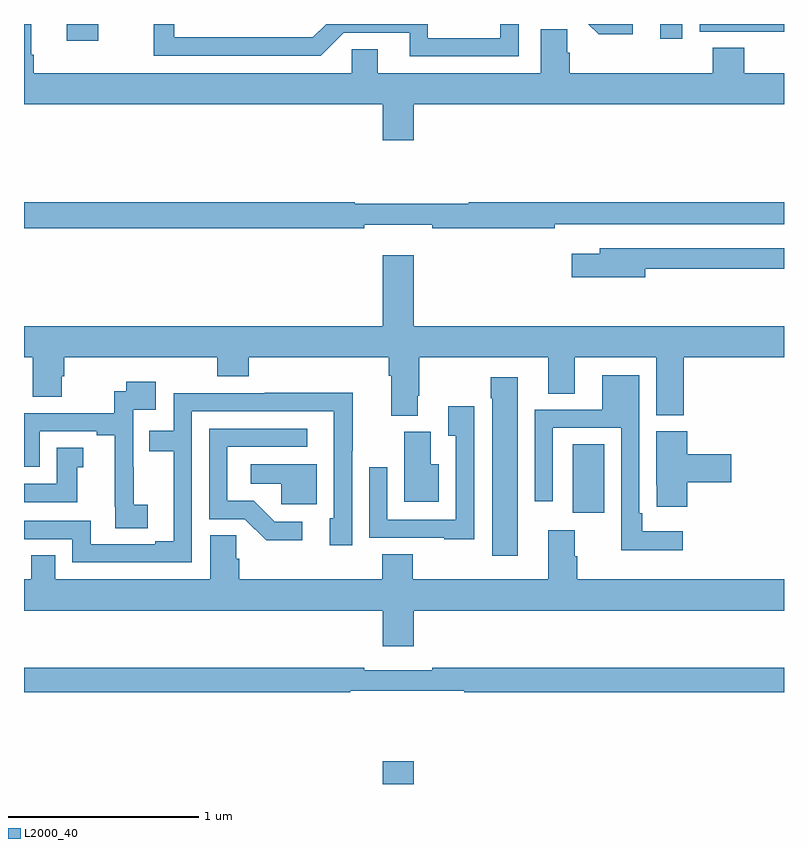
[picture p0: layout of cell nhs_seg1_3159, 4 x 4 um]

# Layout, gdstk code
import gdstk
lib = gdstk.Library(unit=1e-6, precision=1e-09)
def R(c, l, rs):  # rectangles x0, y0, x1, y1
    for r in rs: c.add(gdstk.rectangle(r[:2], r[2:], *l))
def P(c, l, *ps):  # polygons
    for p in ps: c.add(gdstk.Polygon(p, *l))
L2000_40 = (2000, 40)

nhs_seg1_3159 = lib.new_cell('nhs_seg1_3159')
R(nhs_seg1_3159, L2000_40, [(284.888,504.199,285.052,504.319), (285.887,505.626,286.054,505.988), (283.226,508.11,283.392,508.199), (286.349,508.122,286.464,508.199)])
P(nhs_seg1_3159, L2000_40, [(286.204,508.199),(285.971,508.199),(286.025,508.145),(286.204,508.145)],
  [(285.603,508.199),(285.507,508.199),(285.507,508.125),(285.126,508.125),(285.126,508.199),(284.591,508.199),(284.52,508.128),(283.791,508.128),(283.791,508.199),(283.683,508.199),(283.683,508.032),(284.562,508.032),(284.682,508.152),(285.029,508.152),(285.029,508.029),(285.603,508.029)],
  [(287,508.199),(286.557,508.199),(286.557,508.158),(286.873,508.158),(286.873,508.157),(287,508.157)],
  [(285.052,507.776),(287,507.776),(287,507.94),(286.79,507.94),(286.79,508.073),(286.625,508.073),(286.625,507.94),(285.872,507.94),(285.872,508.049),(285.858,508.049),(285.858,508.172),(285.719,508.172),(285.719,507.94),(284.863,507.94),(284.863,508.067),(284.724,508.067),(284.724,507.94),(283.052,507.94),(283.052,508.036),(283.039,508.036),(283.039,508.199),(283,508.199),(283,507.776),(284.888,507.776),(284.888,507.588),(285.052,507.588)],
  [(284.792,507.143),(285.148,507.143),(285.148,507.124),(285.794,507.124),(285.794,507.144),(287,507.144),(287,507.26),(285.341,507.26),(285.341,507.253),(284.741,507.253),(284.741,507.26),(283,507.26),(283,507.124),(284.792,507.124)],
  [(286.27,506.91),(287,506.91),(287,507.018),(286.031,507.018),(286.031,506.989),(285.882,506.989),(285.882,506.867),(286.27,506.867)],
  [(283,506.444),(283.046,506.444),(283.046,506.236),(283.198,506.236),(283.198,506.346),(283.211,506.346),(283.211,506.444),(284.018,506.444),(284.018,506.345),(284.183,506.345),(284.183,506.444),(284.921,506.444),(284.921,506.348),(284.933,506.348),(284.933,506.137),(285.073,506.137),(285.073,506.242),(285.081,506.242),(285.081,506.444),(285.758,506.444),(285.758,506.254),(285.898,506.254),(285.898,506.444),(286.328,506.444),(286.328,506.14),(286.472,506.14),(286.472,506.444),(287,506.444),(287,506.608),(285.052,506.608),(285.052,506.983),(284.888,506.983),(284.888,506.608),(283,506.608)],
  [(286.468,505.528),(286.255,505.528),(286.255,505.624),(286.239,505.624),(286.239,506.35),(286.043,506.35),(286.043,506.169),(285.687,506.169),(285.687,505.686),(285.783,505.686),(285.783,506.073),(286.143,506.073),(286.143,505.43),(286.468,505.43)],
  [(285.598,506.341),(285.457,506.341),(285.457,506.228),(285.464,506.228),(285.464,505.401),(285.598,505.401)],
  [(283.651,505.668),(283.577,505.668),(283.577,505.865),(283.575,505.865),(283.575,506.169),(283.693,506.169),(283.693,506.317),(283.537,506.317),(283.537,506.265),(283.474,506.265),(283.474,506.151),(283,506.151),(283,505.869),(283.083,505.869),(283.083,506.055),(283.382,506.055),(283.382,506.035),(283.478,506.035),(283.478,505.657),(283.48,505.657),(283.48,505.546),(283.651,505.546)],
  [(283.884,506.16),(284.631,506.16),(284.631,505.599),(284.609,505.599),(284.609,505.455),(284.727,505.455),(284.727,505.954),(284.729,505.954),(284.729,506.258),(284.266,506.258),(284.266,506.256),(283.788,506.256),(283.788,506.058),(283.66,506.058),(283.66,505.95),(283.787,505.95),(283.787,505.476),(283.691,505.476),(283.691,505.461),(283.35,505.461),(283.35,505.584),(283,505.584),(283,505.488),(283.254,505.488),(283.254,505.365),(283.884,505.365)],
  [(285.369,506.188),(285.233,506.188),(285.233,506.032),(285.273,506.032),(285.273,505.59),(284.913,505.59),(284.913,505.867),(284.817,505.867),(284.817,505.494),(285.213,505.494),(285.213,505.487),(285.369,505.487)],
  [(284.464,505.578),(284.319,505.578),(284.208,505.689),(284.07,505.689),(284.07,505.974),(284.491,505.974),(284.491,506.07),(283.974,506.07),(283.974,505.593),(284.163,505.593),(284.276,505.481),(284.464,505.481)],
  [(286.49,505.787),(286.723,505.787),(286.723,505.934),(286.49,505.934),(286.49,506.055),(286.328,506.055),(286.328,505.771),(286.329,505.771),(286.329,505.659),(286.49,505.659)],
  [(285.184,505.882),(285.142,505.882),(285.142,506.052),(285.002,506.052),(285.002,505.685),(285.184,505.685)],
  [(283.279,505.867),(283.312,505.867),(283.312,505.97),(283.172,505.97),(283.172,505.779),(283,505.779),(283,505.683),(283.279,505.683)],
  [(284.542,505.882),(284.193,505.882),(284.193,505.778),(284.355,505.778),(284.355,505.671),(284.542,505.671)],
  [(285.052,505.112),(287,505.112),(287,505.276),(285.911,505.276),(285.911,505.397),(285.898,505.397),(285.898,505.534),(285.758,505.534),(285.758,505.276),(285.045,505.276),(285.045,505.409),(284.885,505.409),(284.885,505.276),(284.132,505.276),(284.132,505.385),(284.118,505.385),(284.118,505.508),(283.979,505.508),(283.979,505.276),(283.165,505.276),(283.165,505.403),(283.038,505.403),(283.038,505.276),(283,505.276),(283,505.112),(284.888,505.112),(284.888,504.924),(285.052,504.924)],
  [(284.716,504.69),(285.316,504.69),(285.316,504.682),(287,504.682),(287,504.811),(285.148,504.811),(285.148,504.798),(284.792,504.798),(284.792,504.811),(283,504.811),(283,504.682),(284.716,504.682)])

lib.write_gds('nhs_seg1_3159.gds')
